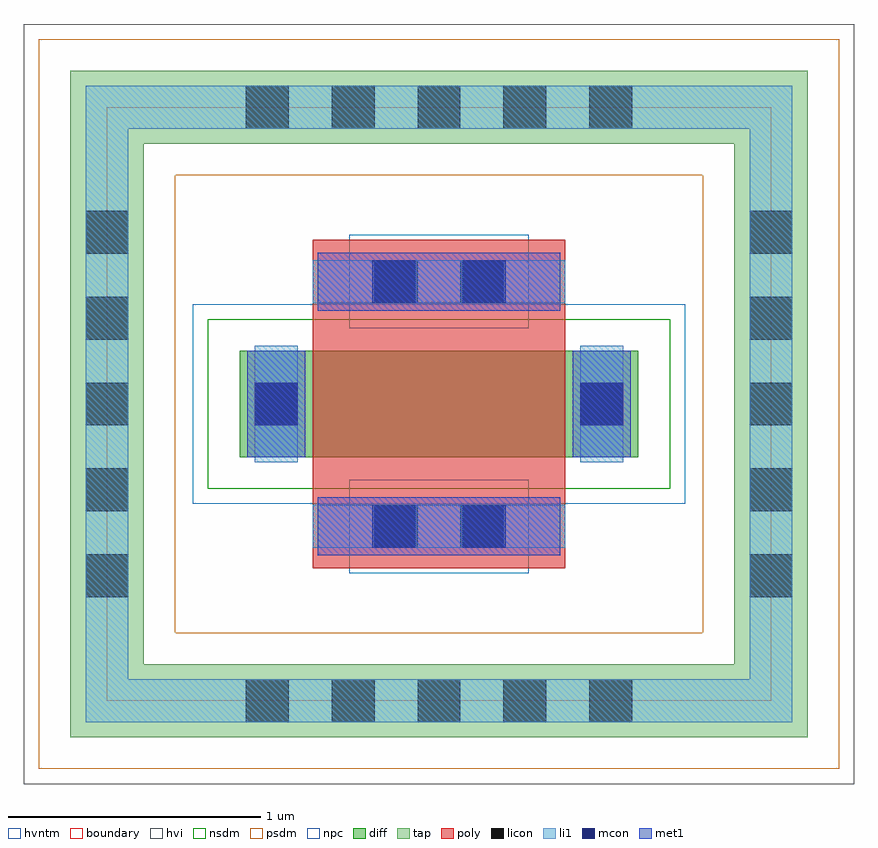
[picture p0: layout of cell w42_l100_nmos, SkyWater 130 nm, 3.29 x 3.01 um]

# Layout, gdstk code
import gdstk
lib = gdstk.Library(unit=1e-6, precision=1e-09)
def R(c, l, rs):  # rectangles x0, y0, x1, y1
    for r in rs: c.add(gdstk.rectangle(r[:2], r[2:], *l))
def A(c, l, x, y, w, h, nx, ny, dx, dy):  # array of equal rectangles
    R(c, l, [(x+i*dx, y+j*dy, x+i*dx+w, y+j*dy+h) for i in range(nx) for j in range(ny)])
diff = (65, 20)
tap = (65, 44)
poly = (66, 20)
licon = (66, 44)
li1 = (67, 20)
mcon = (67, 44)
met1 = (68, 20)
hvi = (75, 20)
nsdm = (93, 44)
psdm = (94, 20)
npc = (95, 20)
hvntm = (125, 20)
boundary = (235, 4)

sky130_fd_pr__nfet_g5v0d = lib.new_cell('sky130_fd_pr__nfet_g5v0d10v5')

w42_l100_nmos = lib.new_cell('w42_l100_nmos')
R(w42_l100_nmos, diff, [(-0.79,-0.21,0.79,0.21)])
R(w42_l100_nmos, tap, [(-1.46,-1.32,1.46,-1.03), (-1.46,-1.03,-1.17,1.03), (1.17,-1.03,1.46,1.03), (-1.46,1.03,1.46,1.32)])
R(w42_l100_nmos, poly, [(-0.5,-0.65,0.5,0.65)])
A(w42_l100_nmos, licon, -0.765, -1.26, 0.17, 0.17, 5, 2, 0.34, 2.35)
A(w42_l100_nmos, licon, -1.4, -0.765, 0.17, 0.17, 1, 5, 0, 0.34)
A(w42_l100_nmos, licon, 1.23, -0.765, 0.17, 0.17, 1, 5, 0, 0.34)
R(w42_l100_nmos, licon, [(-0.255,-0.57,-0.085,-0.4), (0.085,-0.57,0.255,-0.4), (-0.73,-0.085,-0.56,0.085), (0.56,-0.085,0.73,0.085), (-0.255,0.4,-0.085,0.57), (0.085,0.4,0.255,0.57)])
R(w42_l100_nmos, li1, [(-1.4,-1.26,1.4,-1.09), (-1.4,-1.09,-1.23,1.09), (1.23,-1.09,1.4,1.09), (-0.5,-0.57,0.5,-0.4), (-0.73,-0.23,-0.56,0.23), (0.56,-0.23,0.73,0.23), (-0.5,0.4,0.5,0.57), (-1.4,1.09,1.4,1.26)])
R(w42_l100_nmos, mcon, [(-0.265,-0.57,-0.095,-0.4), (0.095,-0.57,0.265,-0.4), (-0.73,-0.085,-0.56,0.085), (0.56,-0.085,0.73,0.085), (-0.265,0.4,-0.095,0.57), (0.095,0.4,0.265,0.57)])
R(w42_l100_nmos, met1, [(-0.48,-0.6,0.48,-0.37), (-0.76,-0.21,-0.53,0.21), (0.53,-0.21,0.76,0.21), (-0.48,0.37,0.48,0.6)])
R(w42_l100_nmos, hvi, [(-1.645,-1.505,1.645,1.505)])
R(w42_l100_nmos, nsdm, [(-0.915,-0.335,0.915,0.335)])
R(w42_l100_nmos, psdm, [(-1.585,-1.445,1.585,-0.905), (-1.585,-0.905,-1.045,0.905), (1.045,-0.905,1.585,0.905), (-1.585,0.905,1.585,1.445)])
R(w42_l100_nmos, npc, [(-0.355,-0.67,0.355,-0.3), (-0.355,0.3,0.355,0.67)])
R(w42_l100_nmos, hvntm, [(-0.975,-0.395,0.975,0.395)])
R(w42_l100_nmos, boundary, [(-1.315,-1.175,1.315,1.175)])
w42_l100_nmos.add(gdstk.Reference(sky130_fd_pr__nfet_g5v0d, (0,0)))

lib.write_gds('w42_l100_nmos.gds')
